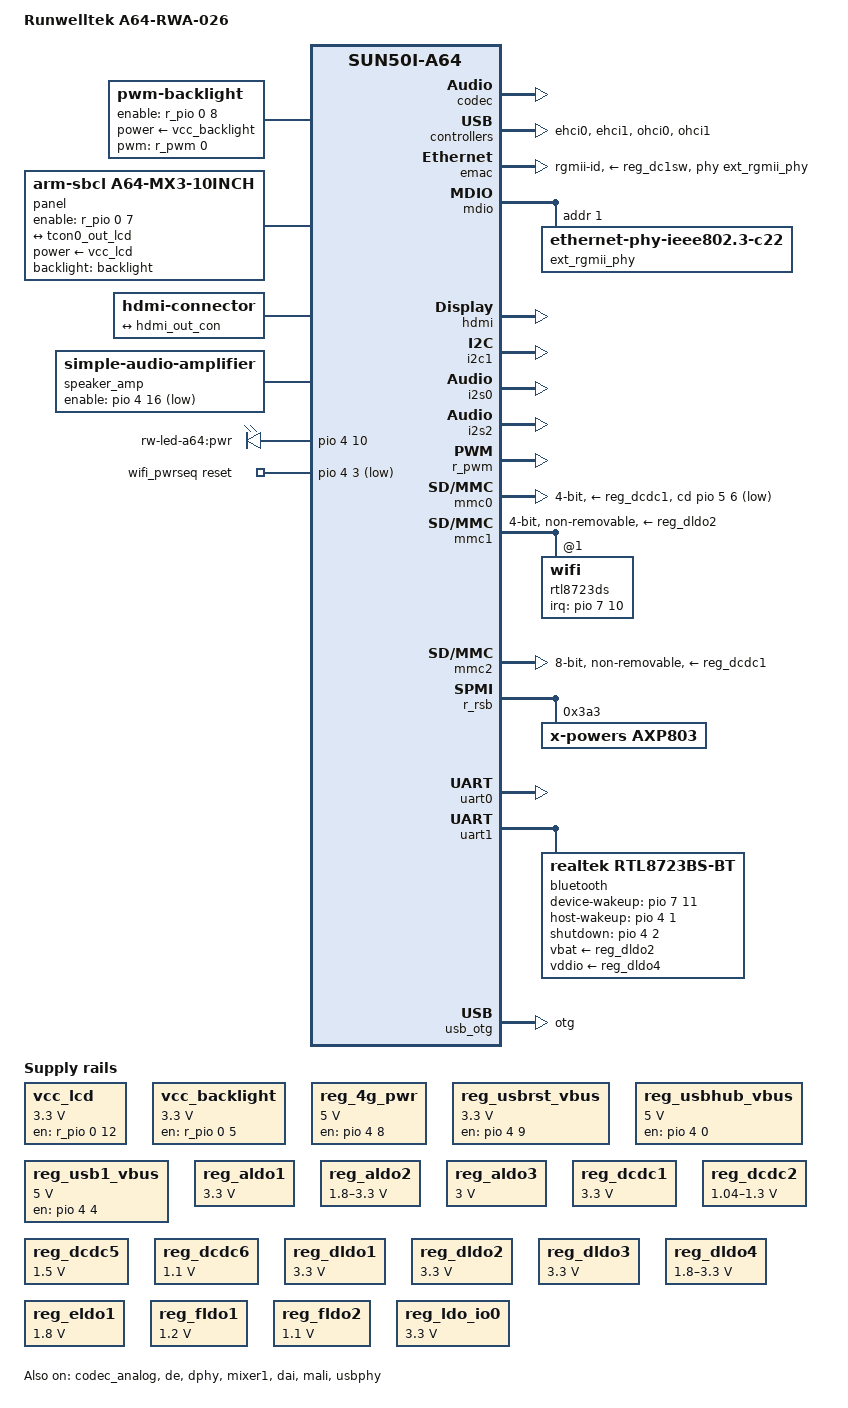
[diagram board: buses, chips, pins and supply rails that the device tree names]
// SPDX-License-Identifier: (GPL-2.0+ OR MIT)
// Copyright (C) 2024 Subair Mullappilly <msubair@hotmail.com>

/dts-v1/;

#include "sun50i-a64.dtsi"
#include "sun50i-a64-cpu-opp.dtsi"

#include <dt-bindings/gpio/gpio.h>

/ {
	model = "Runwelltek A64-RWA-026";
	compatible = "Runwelltek,a64-rwa-026", "allwinner,sun50i-a64";

	
		aliases {
		ethernet0 = &emac;
		serial0 = &uart0;
		serial1 = &uart1;
		mmc0 = &mmc0;  // SD card
        mmc1 = &mmc2;  // eMMC
	};

	chosen {
		stdout-path = "serial0:115200n8";
	};
	
	backlight: backlight {
		compatible = "pwm-backlight";
		pwms = <&r_pwm 0 50000 0>;
		brightness-levels = <0 16 18 20 22 24 26 29 32 35 38 42 46 51 56 62 68 75 83 91 100>;
		default-brightness-level = <15>;
		enable-gpios = <&r_pio 0 8 GPIO_ACTIVE_HIGH>; /* PL08 */
		power-supply = <&vcc_backlight>;
	};

	vcc_lcd: vcc-lcd {
		compatible = "regulator-fixed";
		regulator-name = "vcc-lcd";
		regulator-boot-on;
		regulator-always-on;
		regulator-min-microvolt = <3300000>;
		regulator-max-microvolt = <3300000>;
		gpio = <&r_pio 0 12 GPIO_ACTIVE_HIGH>; /* PL12 */
		enable-active-high;
	};
	
	vcc_backlight: vcc-backlight {
		compatible = "regulator-fixed";
		regulator-boot-on;
		regulator-always-on;
		regulator-min-microvolt = <3300000>;
		regulator-max-microvolt = <3300000>;
		regulator-name = "vcc-backlight";
		gpio = <&r_pio 0 5 GPIO_ACTIVE_HIGH>; /* PL05 */
		enable-active-high;
	};

	panel {
		compatible = "arm-sbcl,a64-mx3-10inch", "panel-lvds";
		backlight = <&backlight>;
		status = "okay";
		pinctrl-names = "default";
		enable-gpios = <&r_pio 0 7 GPIO_ACTIVE_HIGH>; /* PL7 */
		power-supply = <&vcc_lcd>;
        	width-mm = <222>;
		height-mm = <125>;
		data-mapping = "jeida-18";

		panel-timing {
                		clock-frequency = <72330000>;
				hactive = <1366>;
				vactive = <768>;
				hsync-len = <20>;
				hfront-porch = <40>;
				hback-porch = <100>;
				vfront-porch = <2>;
				vback-porch = <10>;
				vsync-len = <10>;
            };

                port {
                        panel_input: endpoint {
                                remote-endpoint = <&tcon0_out_lcd>;
                        };
                };
	};

	hdmi-connector {
		compatible = "hdmi-connector";
		type = "a";

		port {
			hdmi_con_in: endpoint {
				remote-endpoint = <&hdmi_out_con>;
			};
		};
	};

	speaker_amp: audio-amplifier {
		compatible = "simple-audio-amplifier";
		enable-gpios = <&pio 4 16 GPIO_ACTIVE_LOW>; /* PE16 */
		sound-name-prefix = "Speaker Amp";
	};

	leds {
		compatible = "gpio-leds";

		led-0 {
			label = "rw-led-a64:pwr";
			gpios = <&pio 4 10 GPIO_ACTIVE_HIGH>; /* PE10 */
			default-state = "on";
		};
	};

	wifi_pwrseq: wifi_pwrseq {
		compatible = "mmc-pwrseq-simple";
		reset-gpios = <&pio 4 3 GPIO_ACTIVE_LOW>; /* PE3 */
		clocks = <&rtc CLK_OSC32K_FANOUT>;
		clock-names = "ext_clock";
	};
	
	reg_4g_pwr: 4g-pwr {
		compatible = "regulator-fixed";
		regulator-name = "4g-pwr";
		regulator-min-microvolt = <5000000>;
		regulator-max-microvolt = <5000000>;
		regulator-boot-on;
		enable-active-high;
		gpio = <&pio 4 8 GPIO_ACTIVE_HIGH>;
		status = "okay";

	};

	
	reg_usbrst_vbus: usbrst-vbus {
		compatible = "regulator-fixed";
		regulator-name = "usbrst-vbus";
		regulator-min-microvolt = <3300000>;
		regulator-max-microvolt = <3300000>;
		regulator-boot-on;
		regulator-always-on;
		enable-active-high;
		gpio = <&pio 4 9 GPIO_ACTIVE_HIGH>;
		status = "okay";

	};
	
	reg_usbhub_vbus: usbhub-vbus {
		compatible = "regulator-fixed";
		regulator-name = "usbhub-vbus";
		regulator-min-microvolt = <5000000>;
		regulator-max-microvolt = <5000000>;
		regulator-boot-on;
		regulator-always-on;
		enable-active-high;
		gpio = <&pio 4 0 GPIO_ACTIVE_HIGH>;
		status = "okay";

	};

	reg_usb1_vbus: usb1-vbus {
		compatible = "regulator-fixed";
		regulator-name = "usb1-vbus";
		regulator-min-microvolt = <5000000>;
		regulator-max-microvolt = <5000000>;
		regulator-boot-on;
		enable-active-high;
		gpio = <&pio 4 4 GPIO_ACTIVE_HIGH>;
		status = "okay";

	};

};

&codec {
	status = "okay";
};

&codec_analog {
	cpvdd-supply = <&reg_eldo1>;
	status = "okay";
};

&cpu0 {
	cpu-supply = <&reg_dcdc2>;
};

&cpu1 {
	cpu-supply = <&reg_dcdc2>;
};

&cpu2 {
	cpu-supply = <&reg_dcdc2>;
};

&cpu3 {
	cpu-supply = <&reg_dcdc2>;
};

&de {
	status = "okay";
};

&dphy {
	status = "okay";
};

&ehci0 {
	status = "okay";
};

&ehci1 {
	status = "okay";
};

&ohci0 {
	status = "okay";
};

&ohci1 {
	status = "okay";
};


&pio {
	vcc-pc-supply = <&reg_dcdc1>;
	vcc-pg-supply = <&reg_aldo2>;
};

&emac {
	pinctrl-names = "default";
	pinctrl-0 = <&rgmii_pins>;
	phy-mode = "rgmii-id";
	phy-handle = <&ext_rgmii_phy>;
	phy-supply = <&reg_dc1sw>;
	status = "okay";
};

&mdio {
	ext_rgmii_phy: ethernet-phy@1 {
		compatible = "ethernet-phy-ieee802.3-c22";
		reg = <1>;
	};
};

&hdmi {
	hvcc-supply = <&reg_dldo1>;
	status = "okay";
};

&hdmi_out {
	hdmi_out_con: endpoint {
		remote-endpoint = <&hdmi_con_in>;
	};
};

&i2c1 {
	pinctrl-names = "default";
 	pinctrl-0 = <&i2c1_pins>;
	status = "okay";
};

&mixer1 {
	status = "okay";
};

&i2s0 {
	status = "okay";
};

&i2s2 {
	status = "okay";
};


&dai {
	status = "okay";
};

&r_pwm {
	status = "okay";
};

&mmc0 {
	pinctrl-names = "default";
	pinctrl-0 = <&mmc0_pins>;
	vmmc-supply = <&reg_dcdc1>;
	cd-gpios = <&pio 5 6 GPIO_ACTIVE_LOW>;
	disable-wp;
	bus-width = <4>;
	status = "okay";
};

&mmc1 {
	pinctrl-names = "default";
	pinctrl-0 = <&mmc1_pins>;
	vmmc-supply = <&reg_dldo2>;
	vqmmc-supply = <&reg_dldo4>;
	mmc-pwrseq = <&wifi_pwrseq>;
	bus-width = <4>;
	non-removable;
	status = "okay";

	rtl8723ds: wifi@1 {
		reg = <1>;
		interrupt-parent = <&pio>;
		interrupts = <7 10 IRQ_TYPE_LEVEL_LOW>; /* PH10 */
		interrupt-names = "host-wake";
	};
};

&mmc2 {
	pinctrl-names = "default";
	pinctrl-0 = <&mmc2_pins>, <&mmc2_ds_pin>;
	vmmc-supply = <&reg_dcdc1>;
	bus-width = <8>;
	non-removable;
	cap-mmc-hw-reset;
	status = "okay";
};

&tcon0_out {
        tcon0_out_lcd: endpoint {
                remote-endpoint = <&panel_input>;
        };
};


&mali {
	status = "okay";
	mali-supply = <&reg_dcdc6>;
};

&r_rsb {
	status = "okay";

	axp803: pmic@3a3 {
		compatible = "x-powers,axp803";
		reg = <0x3a3>;
		interrupt-parent = <&r_intc>;
		interrupts = <GIC_SPI 32 IRQ_TYPE_LEVEL_LOW>;
		x-powers,drive-vbus-en; /* set N_VBUSEN as output pin */
	};
};

#include "axp803.dtsi"

&ac_power_supply {
	status = "okay";
};

&battery_power_supply {
	status = "okay";
};

&reg_aldo1 {
	regulator-always-on;
	regulator-min-microvolt = <3300000>;
	regulator-max-microvolt = <3300000>;
	regulator-name = "vcc-pe";
};

&reg_aldo2 {
	regulator-always-on;
	regulator-min-microvolt = <1800000>;
	regulator-max-microvolt = <3300000>;
	regulator-name = "vcc-pl";
};

&reg_aldo3 {
	regulator-always-on;
	regulator-min-microvolt = <3000000>;
	regulator-max-microvolt = <3000000>;
	regulator-name = "vcc-pll-avcc";
};

&reg_dc1sw {
	regulator-always-on;
	regulator-name = "vcc-lcd";
};

&reg_dcdc1 {
	regulator-always-on;
	regulator-min-microvolt = <3300000>;
	regulator-max-microvolt = <3300000>;
	regulator-name = "vcc-3v3";
};

&reg_dcdc2 {
	regulator-always-on;
	regulator-min-microvolt = <1040000>;
	regulator-max-microvolt = <1300000>;
	regulator-name = "vdd-cpux";
};

/* DCDC3 is polyphased with DCDC2 */

&reg_dcdc5 {
	regulator-always-on;
	regulator-min-microvolt = <1500000>;
	regulator-max-microvolt = <1500000>;
	regulator-name = "vcc-dram";
};

&reg_dcdc6 {
	regulator-always-on;
	regulator-min-microvolt = <1100000>;
	regulator-max-microvolt = <1100000>;
	regulator-name = "vdd-sys";
};

&reg_dldo1 {
	regulator-min-microvolt = <3300000>;
	regulator-max-microvolt = <3300000>;
	regulator-name = "vcc-hdmi";
};

&reg_dldo2 {
	regulator-min-microvolt = <3300000>;
	regulator-max-microvolt = <3300000>;
	regulator-name = "vcc-usb-hub";
};

&reg_dldo3 {
	regulator-min-microvolt = <3300000>;
	regulator-max-microvolt = <3300000>;
	regulator-name = "vcc-avdd-csi";
};

&reg_dldo4 {
	regulator-min-microvolt = <1800000>;
	regulator-max-microvolt = <3300000>;
	regulator-name = "vcc-wifi-io";
};

&reg_drivevbus {
	regulator-name = "usb0-vbus";
	status = "okay";
};

&reg_eldo1 {
	regulator-always-on;
	regulator-min-microvolt = <1800000>;
	regulator-max-microvolt = <1800000>;
	regulator-name = "cpvdd";
};

&reg_fldo1 {
	regulator-min-microvolt = <1200000>;
	regulator-max-microvolt = <1200000>;
	regulator-name = "vcc-1v2-hsic";
};

&reg_fldo2 {
	regulator-always-on;
	regulator-min-microvolt = <1100000>;
	regulator-max-microvolt = <1100000>;
	regulator-name = "vdd-cpus";
};

&reg_ldo_io0 {
	regulator-name = "vcc-ctp";
	status = "okay";
	regulator-min-microvolt = <3300000>;
	regulator-max-microvolt = <3300000>;
};

&usb_power_supply {
	status = "okay";
};

&reg_rtc_ldo {
	regulator-name = "vcc-rtc";
};

&sound {
	status = "okay";
	simple-audio-card,aux-devs = <&codec_analog>, <&speaker_amp>;
	simple-audio-card,widgets = "Microphone", "Internal Microphone Left",
				    "Microphone", "Internal Microphone Right",
				    "Headphone", "Headphone Jack",
				    "Speaker", "Internal Speaker";
	simple-audio-card,routing =
			"Left DAC", "DACL",
			"Right DAC", "DACR",
			"Speaker Amp INL", "LINEOUT",
			"Speaker Amp INR", "LINEOUT",
			"Internal Speaker", "Speaker Amp OUTL",
			"Internal Speaker", "Speaker Amp OUTR",
			"Headphone Jack", "HP",
			"ADCL", "Left ADC",
			"ADCR", "Right ADC",
			"Internal Microphone Left", "MBIAS",
			"MIC1", "Internal Microphone Left",
			"Internal Microphone Right", "HBIAS",
			"MIC2", "Internal Microphone Right";
};
&uart0 {
	pinctrl-names = "default";
	pinctrl-0 = <&uart0_pb_pins>;
	status = "okay";
};

&uart1 {
	pinctrl-names = "default";
	pinctrl-0 = <&uart1_pins>, <&uart1_rts_cts_pins>;
	uart-has-rtscts;
	status = "okay";

	bluetooth {
		compatible = "realtek,rtl8723bs-bt";
		clocks = <&rtc CLK_OSC32K_FANOUT>;
		clock-names = "lpo";
		vbat-supply = <&reg_dldo2>;
		vddio-supply = <&reg_dldo4>;
		device-wakeup-gpios = <&pio 7 11 GPIO_ACTIVE_HIGH>; /* PH11 */
		host-wakeup-gpios = <&pio 4 1 GPIO_ACTIVE_HIGH>; /* PE1 */
		shutdown-gpios = <&pio 4 2 GPIO_ACTIVE_HIGH>; /* PE2*/
	};
};

&usb_otg {
	dr_mode = "otg";
	status = "okay";
};

&usb_power_supply {
	status = "okay";
};

&usbphy {
	usb0_id_det-gpios = <&pio 7 9 GPIO_ACTIVE_HIGH>; /* PH9 */
	usb0_vbus-supply = <&reg_drivevbus>;
	usb1_vbus-supply = <&reg_usb1_vbus>;
	status = "okay";
};
